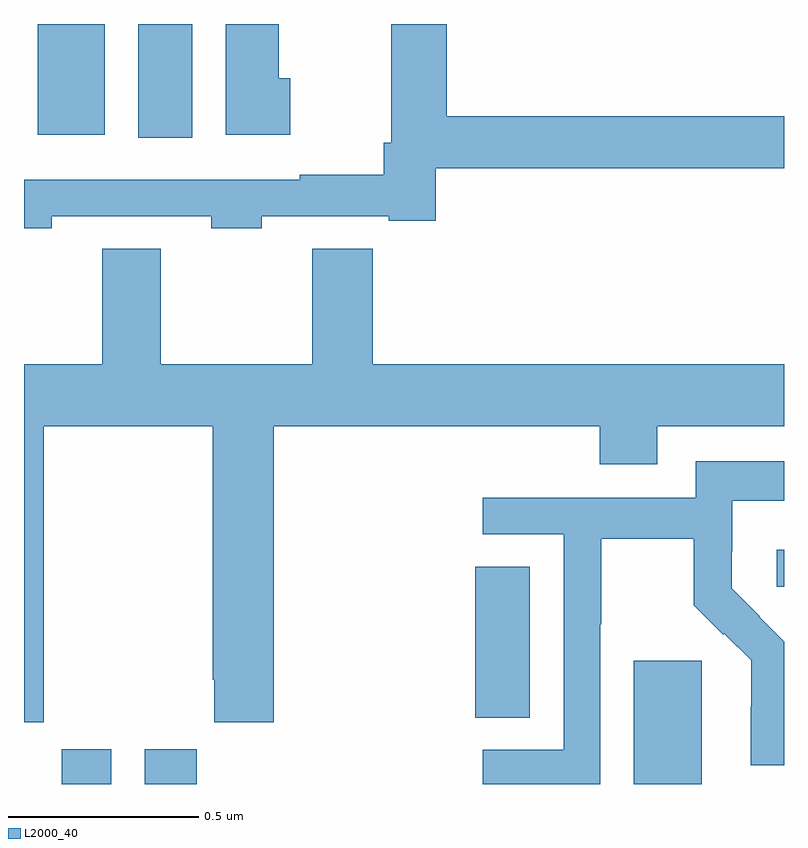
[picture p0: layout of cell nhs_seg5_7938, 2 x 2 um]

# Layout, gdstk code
import gdstk
lib = gdstk.Library(unit=1e-6, precision=1e-09)
def R(c, l, rs):  # rectangles x0, y0, x1, y1
    for r in rs: c.add(gdstk.rectangle(r[:2], r[2:], *l))
def P(c, l, *ps):  # polygons
    for p in ps: c.add(gdstk.Polygon(p, *l))
L2000_40 = (2000, 40)

nhs_seg5_7938 = lib.new_cell('nhs_seg5_7938')
R(nhs_seg5_7938, L2000_40, [(215.099,875.799,215.23,875.89), (215.318,875.799,215.455,875.89), (216.605,875.799,216.784,876.123), (216.188,875.974,216.331,876.371), (216.981,876.318,217,876.415), (215.3,877.5,215.443,877.799), (215.036,877.508,215.212,877.799)])
P(nhs_seg5_7938, L2000_40, [(215.701,877.656),(215.671,877.656),(215.671,877.799),(215.531,877.799),(215.531,877.508),(215.701,877.508)],
  [(215.073,877.293),(215.493,877.293),(215.493,877.261),(215.625,877.261),(215.625,877.293),(215.96,877.293),(215.96,877.281),(216.083,877.281),(216.083,877.42),(217,877.42),(217,877.556),(216.113,877.556),(216.113,877.799),(215.966,877.799),(215.966,877.486),(215.947,877.486),(215.947,877.402),(215.725,877.402),(215.725,877.389),(215,877.389),(215,877.261),(215.073,877.261)],
  [(215.052,876.74),(215.497,876.74),(215.497,876.073),(215.501,876.073),(215.501,875.961),(215.657,875.961),(215.657,876.74),(216.515,876.74),(216.515,876.641),(216.667,876.641),(216.667,876.74),(217,876.74),(217,876.904),(215.918,876.904),(215.918,877.208),(215.758,877.208),(215.758,876.904),(215.36,876.904),(215.36,877.208),(215.206,877.208),(215.206,876.904),(215,876.904),(215,875.961),(215.052,875.961)],
  [(216.516,876.22),(216.519,876.22),(216.519,876.444),(216.763,876.444),(216.763,876.269),(216.84,876.192),(216.843,876.195),(216.914,876.125),(216.914,876.002),(216.912,876.002),(216.912,875.848),(217,875.848),(217,876.174),(216.935,876.239),(216.936,876.24),(216.862,876.314),(216.862,876.411),(216.864,876.411),(216.864,876.545),(217,876.545),(217,876.649),(216.768,876.649),(216.768,876.552),(216.207,876.552),(216.207,876.456),(216.42,876.456),(216.42,875.889),(216.207,875.889),(216.207,875.799),(216.516,875.799)])

lib.write_gds('nhs_seg5_7938.gds')
